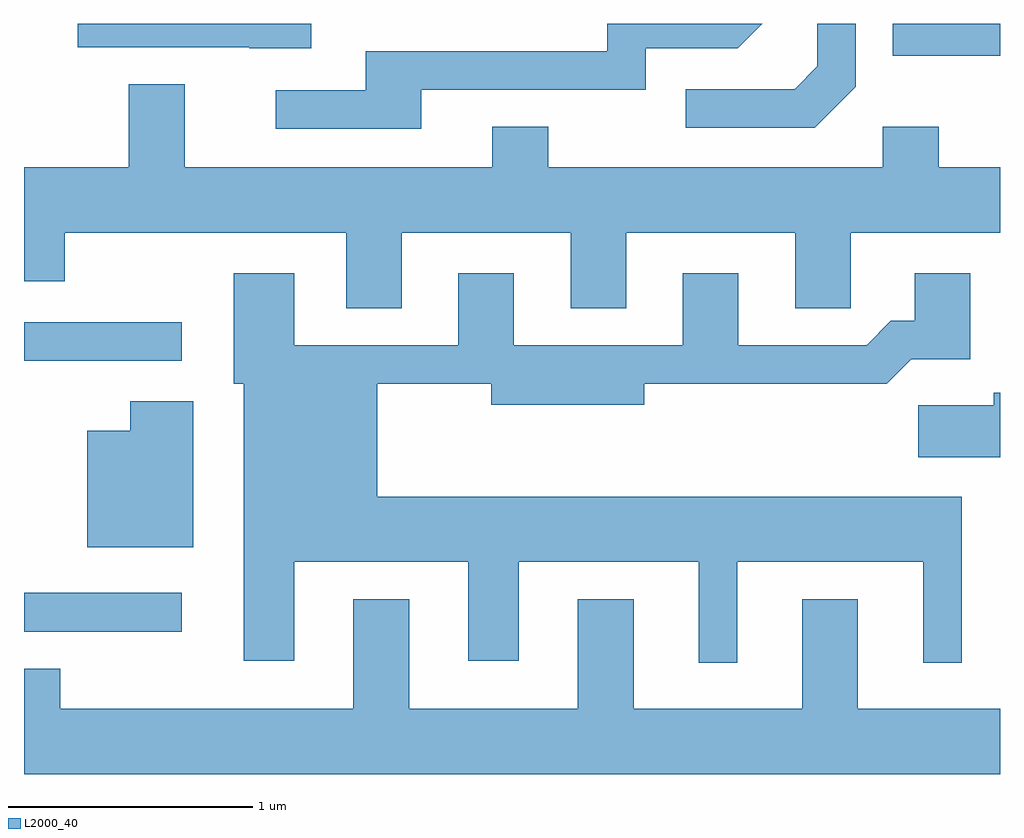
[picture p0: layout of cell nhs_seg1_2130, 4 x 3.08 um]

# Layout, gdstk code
import gdstk
lib = gdstk.Library(unit=1e-6, precision=1e-09)
def R(c, l, rs):  # rectangles x0, y0, x1, y1
    for r in rs: c.add(gdstk.rectangle(r[:2], r[2:], *l))
def P(c, l, *ps):  # polygons
    for p in ps: c.add(gdstk.Polygon(p, *l))
L2000_40 = (2000, 40)

nhs_seg1_2130 = lib.new_cell('nhs_seg1_2130')
R(nhs_seg1_2130, L2000_40, [(249.611,951.221,250.258,951.379), (249.611,952.331,250.258,952.489), (253.171,953.581,253.611,953.712)])
P(nhs_seg1_2130, L2000_40, [(251.239,953.441),(252.159,953.441),(252.159,953.611),(252.537,953.611),(252.637,953.712),(252.001,953.712),(252.001,953.599),(251.011,953.599),(251.011,953.439),(250.643,953.439),(250.643,953.281),(251.239,953.281)],
  [(253.019,953.454),(253.019,953.712),(252.861,953.712),(252.861,953.537),(252.769,953.444),(252.323,953.444),(252.323,953.286),(252.852,953.286)],
  [(250.789,953.712),(249.831,953.712),(249.831,953.616),(250.535,953.616),(250.535,953.611),(250.789,953.611)],
  [(251.159,952.856),(251.851,952.856),(251.851,952.546),(252.079,952.546),(252.079,952.856),(252.771,952.856),(252.771,952.546),(252.999,952.546),(252.999,952.856),(253.611,952.856),(253.611,953.124),(253.359,953.124),(253.359,953.289),(253.131,953.289),(253.131,953.124),(251.759,953.124),(251.759,953.289),(251.531,953.289),(251.531,953.124),(250.269,953.124),(250.269,953.464),(250.041,953.464),(250.041,953.124),(249.611,953.124),(249.611,952.656),(249.779,952.656),(249.779,952.856),(250.931,952.856),(250.931,952.546),(251.159,952.546)],
  [(252.534,951.506),(253.296,951.506),(253.296,951.093),(253.454,951.093),(253.454,951.774),(251.059,951.774),(251.059,952.236),(251.526,952.236),(251.526,952.151),(252.154,952.151),(252.154,952.236),(253.147,952.236),(253.247,952.336),(253.489,952.336),(253.489,952.689),(253.261,952.689),(253.261,952.494),(253.164,952.494),(253.064,952.394),(252.539,952.394),(252.539,952.689),(252.311,952.689),(252.311,952.394),(251.619,952.394),(251.619,952.689),(251.391,952.689),(251.391,952.394),(250.719,952.394),(250.719,952.689),(250.471,952.689),(250.471,952.236),(250.511,952.236),(250.511,951.101),(250.719,951.101),(250.719,951.506),(251.431,951.506),(251.431,951.101),(251.639,951.101),(251.639,951.506),(252.376,951.506),(252.376,951.093),(252.534,951.093)],
  [(253.611,952.199),(253.586,952.199),(253.586,952.149),(253.276,952.149),(253.276,951.936),(253.611,951.936)],
  [(250.304,952.164),(250.046,952.164),(250.046,952.044),(249.871,952.044),(249.871,951.566),(250.304,951.566)],
  [(253.611,950.904),(253.029,950.904),(253.029,951.354),(252.801,951.354),(252.801,950.904),(252.109,950.904),(252.109,951.354),(251.881,951.354),(251.881,950.904),(251.189,950.904),(251.189,951.354),(250.961,951.354),(250.961,950.904),(249.759,950.904),(249.759,951.069),(249.611,951.069),(249.611,950.636),(253.611,950.636)])

lib.write_gds('nhs_seg1_2130.gds')
